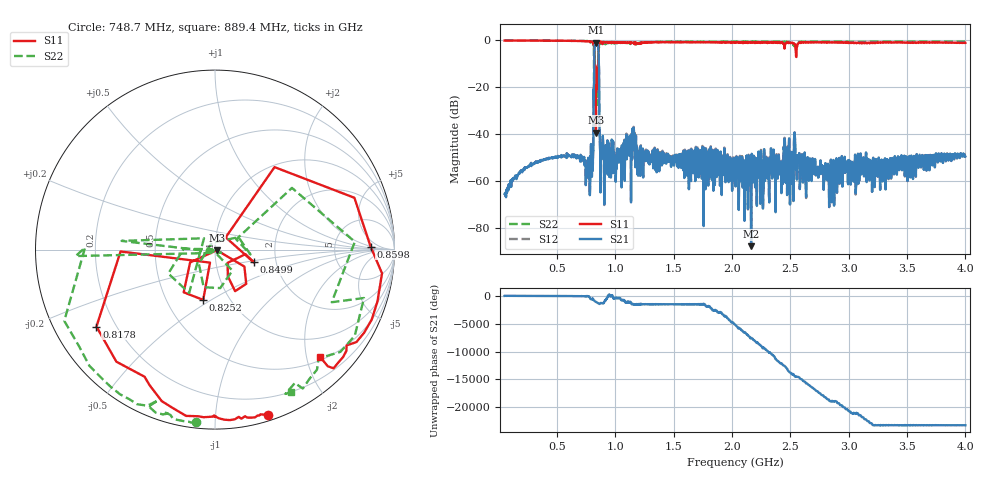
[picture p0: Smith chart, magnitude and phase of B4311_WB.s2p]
! Matrix data file written by TouchstoneData, EPCOS AG
! FILENAME: "LZ28A_X18Y18_Pcb03_WB.s2p_newformat"
! COMMENT: "(LZ28A_X18Y18_Pcb03_WB.s2p) Epcos AG 6/3/201"
! INFO: nport=2, nfreq=1601
! DATE: "Mon Jun 20 20:14:27 2011"
! USER: "Michael Schemies"
! port | pin | signal
!  1  |  1  |  in
!  2  |  4  |  out
# MHZ S MA R 50
! freq  magS11 angS11  magS21 angS21  magS12 angS12  magS22 angS22
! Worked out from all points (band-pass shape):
!   1601 points, 50 MHz to 4 GHz, reference 50 ohm
!   highest |S21| = -0.91 dB at 832.6 MHz (marker M1); lowest = -88.0 dB at 2.163 GHz (marker M2)
!   |S21| within 3 dB of the highest: 820.2 MHz to 854.3 MHz (34.11 MHz wide, 4.07 % of centre)
!   lowest |S11| = -39.4 dB at 832.6 MHz (marker M3), VSWR 1.02, Z = 51 - j0.358 ohm
!   |S11| at or under -10 dB: 820.9 MHz to 854 MHz (33.12 MHz wide, 3.95 % of centre)
!   |S22| runs from -35.9 to 0.0 dB; largest |S21 - S12| = 0.001
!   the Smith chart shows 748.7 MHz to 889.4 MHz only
!   S11 on the Smith chart (normalised r, x): 748.7 MHz: 0.05, -1.37; 817.8 MHz: 0.13, -0.29; 825.2 MHz: 0.76, -0.46; 849.9 MHz: 1.53, -0.23; 859.8 MHz: 14, +2; 889.4 MHz: 0.58, -2.26
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50  0.994 -4.5  0.0005199 79.9  0.000562 85.2  0.9982 -6.5
279.5938  0.9943 -24.1  0.002061 58.9  0.002075 59.6  0.9952 -35.0
709.1562  0.9707 -64.9  0.002604 16.1  0.002629 16.0  0.9784 -87.9
748.6562  0.9653 -72.2  0.001757 45.9  0.001731 45.7  0.965 -96.2
790.625  0.94 -88.7  0.006108 -168.6  0.006147 -168.4  0.9451 -112.8
817.7812  0.7876 -147.0  0.248 -28.6  0.2478 -28.6  0.03919 -26.5
825.1875  0.2878 -103.2  0.8433 159.1  0.8434 159.1  0.2809 -120.8
832.5938  0.01075 -19.1  0.901 71.8  0.9014 71.8  0.01595 170.7
840  0.2573 -64.2  0.859 -2.5  0.8594 -2.6  0.2191 -106.8
849.875  0.2273 -18.2  0.853 -113.9  0.8533 -113.9  0.1993 -7.8
859.75  0.867 1.1  0.2098 63.3  0.2098 63.3  0.7135 -24.3
889.375  0.834 -45.6  0.003044 168.2  0.003056 167.7  0.8983 -62.0
1156  0.8855 -77.3  0.01356 20.2  0.0142 20.3  0.8958 -98.6
1205.375  0.8825 -80.2  0.003482 -52.5  0.003608 -52.6  0.8669 -101.1
1368.312  0.9221 -88.0  0.003848 3.8  0.004052 3.5  0.9308 -109.2
2025  0.9187 -115.7  0.002 -56.8  0.002095 -56.7  0.937 -133.0
2163.25  0.9043 -119.8  3.995e-05 31.4  5.905e-05 34.6  0.943 -136.0
2548.375  0.45 -139.5  0.001711 -85.0  0.001701 -85.5  0.8699 -137.5
2684.156  0.9099 -129.7  0.001332 128.1  0.00132 128.7  0.9429 -145.2
2869.312  0.9122 -135.6  0.002769 97.7  0.002778 97.6  0.9484 -149.2
3343.312  0.9062 -142.8  0.0024 142.7  0.002398 142.4  0.9437 -155.5
4000  0.8887 -154.4  0.003317 112.3  0.003325 112.9  0.9533 -163.7
